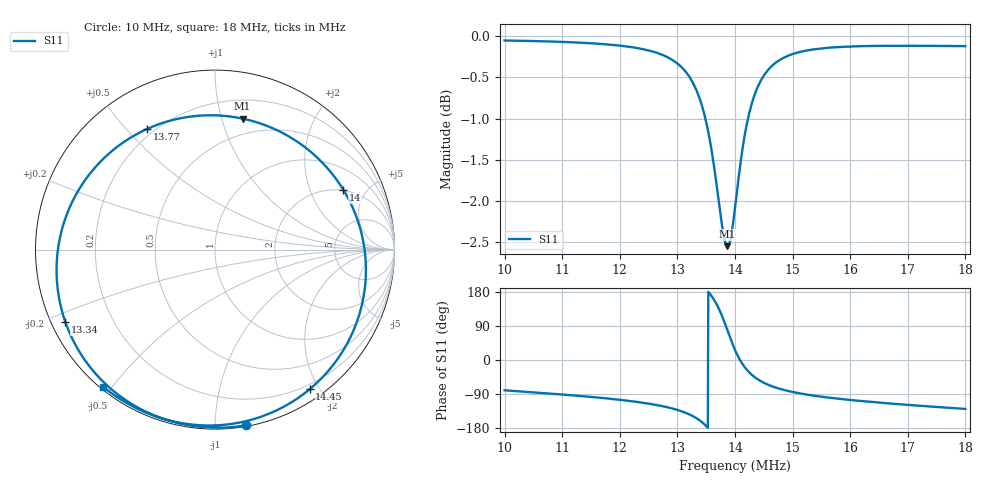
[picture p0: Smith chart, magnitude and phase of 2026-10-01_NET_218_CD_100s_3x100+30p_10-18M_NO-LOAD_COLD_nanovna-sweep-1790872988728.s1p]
! NanoVNA Web complex sweep
! Processing: unaveraged complex samples; linear segment spacing; no smoothing
# Hz S RI R 50
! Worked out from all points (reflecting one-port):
!   1010 points, 10 MHz to 18 MHz, reference 50 ohm
!   lowest |S11| = -2.5 dB at 13.87 MHz (marker M1), VSWR 6.87, Z = 17.8 + j58.5 ohm
!   phase of S11 starts at -80 deg and turns -409 deg over the sweep
!   S11 on the Smith chart (normalised r, x): 10 MHz: 0.01, -1.19; 13.34 MHz: 0.04, -0.23; 13.77 MHz: 0.17, +0.57; 14 MHz: 1.96, +3.47; 14.45 MHz: 0.14, -1.88; 18 MHz: 0.01, -0.48
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1e7  0.174 -0.9787
1.100698e7  -0.0193 -0.9919
1.200604e7  -0.2579 -0.9526
1.260071e7  -0.4555 -0.8655
1.300509e7  -0.6439 -0.715
1.318746e7  -0.7482 -0.5807
1.333811e7  -0.8342 -0.402
1.346497e7  -0.881 -0.1713
1.359184e7  -0.8383 0.1609
1.367906e7  -0.6875 0.4347
1.37187e7  -0.5683 0.5542
1.376628e7  -0.3786 0.6721
1.382178e7  -0.1032 0.7449
1.386935e7  0.1539 0.7299
1.393278e7  0.4687 0.5943
1.400414e7  0.7151 0.3333
1.405172e7  0.8028 0.1384
1.409929e7  0.8382 -0.0476
1.416272e7  0.8276 -0.2634
1.421823e7  0.7854 -0.4166
1.43213e7  0.6732 -0.623
1.444817e7  0.5278 -0.7776
1.467811e7  0.3088 -0.911
1.50032e7  0.0941 -0.9708
1.543929e7  -0.0956 -0.9778
1.600225e7  -0.2622 -0.9496
1.700131e7  -0.4697 -0.8677
1.800036e7  -0.6225 -0.7649
